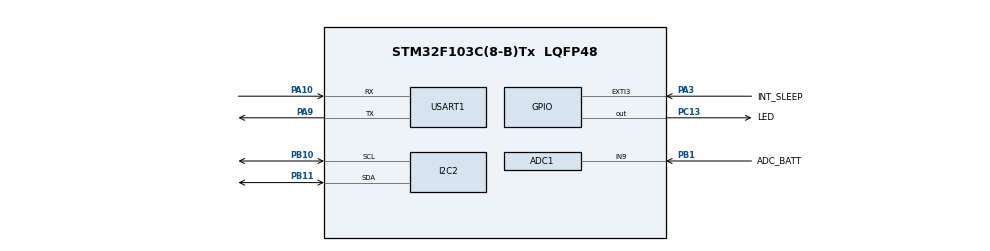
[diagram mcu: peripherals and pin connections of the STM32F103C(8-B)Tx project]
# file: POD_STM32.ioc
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ADC1.Channel-0\#ChannelRegularConversion=ADC_CHANNEL_VREFINT
ADC1.NbrOfConversionFlag=1
ADC1.Rank-0\#ChannelRegularConversion=1
ADC1.SamplingTime-0\#ChannelRegularConversion=ADC_SAMPLETIME_1CYCLE_5
ADC1.master=1
I2C2.I2C_Mode=I2C_Fast
Mcu.Family=STM32F1
Mcu.Name=STM32F103C(8-B)Tx
Mcu.Package=LQFP48
NVIC.EXTI3_IRQn=true\:0\:0\:false\:false\:true\:true\:true\:true
NVIC.I2C2_ER_IRQn=true\:0\:0\:false\:false\:true\:true\:true\:true
NVIC.I2C2_EV_IRQn=true\:0\:0\:false\:false\:true\:true\:true\:true
NVIC.PriorityGroup=NVIC_PRIORITYGROUP_4
NVIC.USART1_IRQn=true\:0\:0\:false\:false\:true\:true\:true\:true
PA10.Mode=Asynchronous
PA10.Signal=USART1_RX
PA13.Mode=Serial_Wire
PA13.Signal=SYS_JTMS-SWDIO
PA14.Mode=Serial_Wire
PA14.Signal=SYS_JTCK-SWCLK
PA3.GPIO_Label=INT_SLEEP
PA3.GPIO_PuPd=GPIO_PULLUP
PA3.Signal=GPXTI3
PA9.Mode=Asynchronous
PA9.Signal=USART1_TX
PB1.GPIO_Label=ADC_BATT
PB1.Signal=ADCx_IN9
PB10.Mode=I2C
PB10.Signal=I2C2_SCL
PB11.Mode=I2C
PB11.Signal=I2C2_SDA
PC13-TAMPER-RTC.GPIO_Label=LED
PC13-TAMPER-RTC.Signal=GPIO_Output
PD0-OSC_IN.Mode=HSE-External-Oscillator
PD0-OSC_IN.Signal=RCC_OSC_IN
PD1-OSC_OUT.Mode=HSE-External-Oscillator
PD1-OSC_OUT.Signal=RCC_OSC_OUT
ProjectManager.HeapSize=0x200
ProjectManager.StackSize=0x400
ProjectManager.TargetToolchain=STM32CubeIDE
RCC.APB1Freq_Value=8000000
RCC.APB2Freq_Value=8000000
SH.ADCx_IN9.0=ADC1_IN9,IN9
USART1.VirtualMode=VM_ASYNC
VP_ADC1_Vref_Input.Mode=IN-Vrefint
board=custom

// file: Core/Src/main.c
/* USER CODE BEGIN Header */
/**
  ******************************************************************************
  * @file           : main.c
  * @brief          : Main program body
  ******************************************************************************
  * @attention
  *
  * Copyright (c) 2026 STMicroelectronics.
  * All rights reserved.
  *
  * This software is licensed under terms that can be found in the LICENSE file
  * in the root directory of this software component.
  * If no LICENSE file comes with this software, it is provided AS-IS.
  *
  ******************************************************************************
  */
/* USER CODE END Header */
#include "main.h"

/* USER CODE BEGIN Includes */
#include "ssd1306.h"
#include "mpu6050.h"
#include "pod_imu.h"
#include "pod_fsm.h"
#include "pod_shared.h"
/* USER CODE END Includes */

ADC_HandleTypeDef hadc1;

I2C_HandleTypeDef hi2c2;

UART_HandleTypeDef huart1;

void SystemClock_Config(void);
static void MX_GPIO_Init(void);
static void MX_USART1_UART_Init(void);
static void MX_I2C2_Init(void);
static void MX_ADC1_Init(void);

/* USER CODE BEGIN 0 */

#define CMD_BUF_SIZE 64 //Tamaño del arreglo que requiere recibir.

/*── UART coneccition ──────────────────────── */
uint8_t rx_byte;
uint8_t Vbatt;

volatile uint8_t cmd_ready;
volatile uint8_t cmd_index = 0;

char cmd_buffer[CMD_BUF_SIZE];

/*── MPU variables ─────────────────────────── */
MPU6050_Handle_t mpu; //Sirve para el manejador del sensor.
uint8_t whoami;

void HAL_GPIO_EXTI_Callback(uint16_t GPIO_Pin)
{
    if (GPIO_Pin == GPIO_PIN_3) {
        // Solo despertar — nada más
    }
}

void HAL_UART_RxCpltCallback(UART_HandleTypeDef *huart)
{
    if (huart->Instance == USART1)
    {
        if (rx_byte == '\n')
        {
        	cmd_buffer[cmd_index] = '\0';
        	cmd_ready = 1;
        	cmd_index = 0;
        }
        else
        {
        	if(cmd_index < sizeof(cmd_buffer)-1)
        	{
        		cmd_buffer[cmd_index++] = rx_byte;
        	}

        }
        HAL_UART_Receive_IT(&huart1, &rx_byte, 1);

    }
}
/* USER CODE END 0 */

int main(void)
{

  /* MCU Configuration--------------------------------------------------------*/

  /* Reset of all peripherals, Initializes the Flash interface and the Systick. */
  HAL_Init();

  /* Configure the system clock */
  SystemClock_Config();

  /* Initialize all configured peripherals */
  MX_GPIO_Init();
  MX_USART1_UART_Init();
  MX_I2C2_Init();
  MX_ADC1_Init();
  /* USER CODE BEGIN 2 */

  HAL_UART_Receive_IT(&huart1, &rx_byte, 1);
  ssd1306_Init();
  MPU6050_Init(&mpu, &hi2c2, MPU6050_I2C_ADDR);

  /* USER CODE END 2 */

  /* Infinite loop */
  while (1)
  {

    /* USER CODE BEGIN 3 */
	  /* MAIN STATE MACHINE FOR LOGIC*/
	  FINITE_STATE_MACHINE_MAIN();
	  /* MAIN UI FSM for image in screen*/
	  POD_UI_TASK();
	  /*IMU commands for gestures*/
	  IMU_Processloop();
  }
  /* USER CODE END 3 */
}

void SystemClock_Config(void)
{
  RCC_OscInitTypeDef RCC_OscInitStruct = {0};
  RCC_ClkInitTypeDef RCC_ClkInitStruct = {0};
  RCC_PeriphCLKInitTypeDef PeriphClkInit = {0};

  /** Initializes the RCC Oscillators according to the specified parameters
  * in the RCC_OscInitTypeDef structure.
  */
  RCC_OscInitStruct.OscillatorType = RCC_OSCILLATORTYPE_HSI;
  RCC_OscInitStruct.HSIState = RCC_HSI_ON;
  RCC_OscInitStruct.HSICalibrationValue = RCC_HSICALIBRATION_DEFAULT;
  RCC_OscInitStruct.PLL.PLLState = RCC_PLL_NONE;
  if (HAL_RCC_OscConfig(&RCC_OscInitStruct) != HAL_OK)
  {
    Error_Handler();
  }

  /** Initializes the CPU, AHB and APB buses clocks
  */
  RCC_ClkInitStruct.ClockType = RCC_CLOCKTYPE_HCLK|RCC_CLOCKTYPE_SYSCLK
                              |RCC_CLOCKTYPE_PCLK1|RCC_CLOCKTYPE_PCLK2;
  RCC_ClkInitStruct.SYSCLKSource = RCC_SYSCLKSOURCE_HSI;
  RCC_ClkInitStruct.AHBCLKDivider = RCC_SYSCLK_DIV1;
  RCC_ClkInitStruct.APB1CLKDivider = RCC_HCLK_DIV1;
  RCC_ClkInitStruct.APB2CLKDivider = RCC_HCLK_DIV1;

  if (HAL_RCC_ClockConfig(&RCC_ClkInitStruct, FLASH_LATENCY_0) != HAL_OK)
  {
    Error_Handler();
  }
  PeriphClkInit.PeriphClockSelection = RCC_PERIPHCLK_ADC;
  PeriphClkInit.AdcClockSelection = RCC_ADCPCLK2_DIV2;
  if (HAL_RCCEx_PeriphCLKConfig(&PeriphClkInit) != HAL_OK)
  {
    Error_Handler();
  }
}

static void MX_ADC1_Init(void)
{

  ADC_ChannelConfTypeDef sConfig = {0};

  /** Common config
  */
  hadc1.Instance = ADC1;
  hadc1.Init.ScanConvMode = ADC_SCAN_DISABLE;
  hadc1.Init.ContinuousConvMode = DISABLE;
  hadc1.Init.DiscontinuousConvMode = DISABLE;
  hadc1.Init.ExternalTrigConv = ADC_SOFTWARE_START;
  hadc1.Init.DataAlign = ADC_DATAALIGN_RIGHT;
  hadc1.Init.NbrOfConversion = 1;
  if (HAL_ADC_Init(&hadc1) != HAL_OK)
  {
    Error_Handler();
  }

  /** Configure Regular Channel
  */
  sConfig.Channel = ADC_CHANNEL_VREFINT;
  sConfig.Rank = ADC_REGULAR_RANK_1;
  sConfig.SamplingTime = ADC_SAMPLETIME_1CYCLE_5;
  if (HAL_ADC_ConfigChannel(&hadc1, &sConfig) != HAL_OK)
  {
    Error_Handler();
  }

}

static void MX_I2C2_Init(void)
{

  hi2c2.Instance = I2C2;
  hi2c2.Init.ClockSpeed = 400000;
  hi2c2.Init.DutyCycle = I2C_DUTYCYCLE_2;
  hi2c2.Init.OwnAddress1 = 0;
  hi2c2.Init.AddressingMode = I2C_ADDRESSINGMODE_7BIT;
  hi2c2.Init.DualAddressMode = I2C_DUALADDRESS_DISABLE;
  hi2c2.Init.OwnAddress2 = 0;
  hi2c2.Init.GeneralCallMode = I2C_GENERALCALL_DISABLE;
  hi2c2.Init.NoStretchMode = I2C_NOSTRETCH_DISABLE;
  if (HAL_I2C_Init(&hi2c2) != HAL_OK)
  {
    Error_Handler();
  }

}

static void MX_USART1_UART_Init(void)
{

  huart1.Instance = USART1;
  huart1.Init.BaudRate = 115200;
  huart1.Init.WordLength = UART_WORDLENGTH_8B;
  huart1.Init.StopBits = UART_STOPBITS_1;
  huart1.Init.Parity = UART_PARITY_NONE;
  huart1.Init.Mode = UART_MODE_TX_RX;
  huart1.Init.HwFlowCtl = UART_HWCONTROL_NONE;
  huart1.Init.OverSampling = UART_OVERSAMPLING_16;
  if (HAL_UART_Init(&huart1) != HAL_OK)
  {
    Error_Handler();
  }

}

static void MX_GPIO_Init(void)
{
  GPIO_InitTypeDef GPIO_InitStruct = {0};

  /* GPIO Ports Clock Enable */
  __HAL_RCC_GPIOC_CLK_ENABLE();
  __HAL_RCC_GPIOD_CLK_ENABLE();
  __HAL_RCC_GPIOA_CLK_ENABLE();
  __HAL_RCC_GPIOB_CLK_ENABLE();

  /*Configure GPIO pin Output Level */
  HAL_GPIO_WritePin(LED_GPIO_Port, LED_Pin, GPIO_PIN_RESET);

  /*Configure GPIO pin : LED_Pin */
  GPIO_InitStruct.Pin = LED_Pin;
  GPIO_InitStruct.Mode = GPIO_MODE_OUTPUT_PP;
  GPIO_InitStruct.Pull = GPIO_NOPULL;
  GPIO_InitStruct.Speed = GPIO_SPEED_FREQ_LOW;
  HAL_GPIO_Init(LED_GPIO_Port, &GPIO_InitStruct);

  /*Configure GPIO pin : INT_SLEEP_Pin */
  GPIO_InitStruct.Pin = INT_SLEEP_Pin;
  GPIO_InitStruct.Mode = GPIO_MODE_IT_RISING;
  GPIO_InitStruct.Pull = GPIO_PULLUP;
  HAL_GPIO_Init(INT_SLEEP_GPIO_Port, &GPIO_InitStruct);

  /* EXTI interrupt init*/
  HAL_NVIC_SetPriority(EXTI3_IRQn, 0, 0);
  HAL_NVIC_EnableIRQ(EXTI3_IRQn);

}

void Error_Handler(void)
{
  __disable_irq();
  while (1)
  {
  }
}
